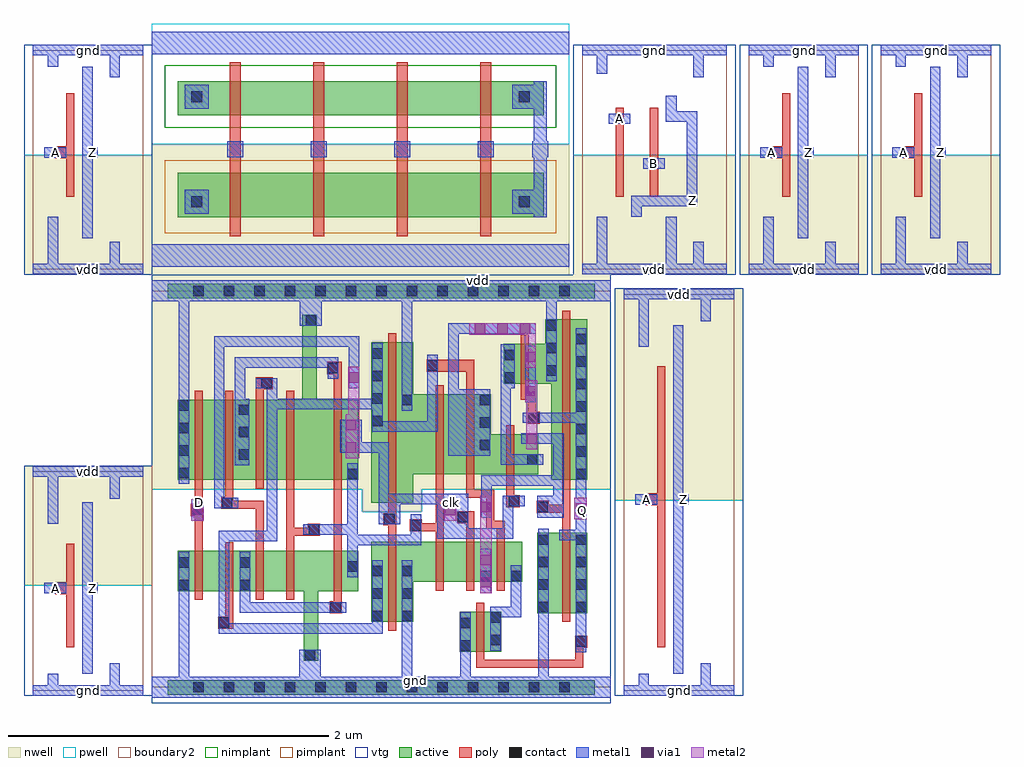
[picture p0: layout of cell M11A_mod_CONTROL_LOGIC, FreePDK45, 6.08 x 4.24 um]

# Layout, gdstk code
import gdstk
lib = gdstk.Library(unit=1e-6, precision=1e-09)
def R(c, l, rs):  # rectangles x0, y0, x1, y1
    for r in rs: c.add(gdstk.rectangle(r[:2], r[2:], *l))
def A(c, l, x, y, w, h, nx, ny, dx, dy):  # array of equal rectangles
    R(c, l, [(x+i*dx, y+j*dy, x+i*dx+w, y+j*dy+h) for i in range(nx) for j in range(ny)])
def P(c, l, *ps):  # polygons
    for p in ps: c.add(gdstk.Polygon(p, *l))
active = (1, 0)
pwell = (2, 0)
nwell = (3, 0)
nimplant = (4, 0)
pimplant = (5, 0)
vtg = (6, 0)
poly = (9, 0)
contact = (10, 0)
metal1 = (11, 0)
via1 = (12, 0)
metal2 = (13, 0)
boundary2 = (239, 0)

m11a_mod_control_logic = lib.new_cell('M11A_mod_CONTROL_LOGIC')
A(m11a_mod_control_logic, active, 1.089, 0.7, 0.05, 0.25, 4, 1, 0.19, 0)
A(m11a_mod_control_logic, active, 1.139, 0.7, 0.14, 0.25, 3, 1, 0.19, 0)
A(m11a_mod_control_logic, active, 2.589, 0.757, 0.05, 0.25, 3, 1, 0.19, 0)
A(m11a_mod_control_logic, active, 1.089, 1.392, 0.05, 0.5, 4, 1, 0.19, 0)
A(m11a_mod_control_logic, active, 1.139, 1.392, 0.14, 0.5, 3, 1, 0.19, 0)
R(m11a_mod_control_logic, active, [(0.922,0.055,3.582,0.145), (2.739,0.322,2.844,0.572), (2.844,0.322,2.894,0.572), (2.894,0.322,2.999,0.572), (2.189,0.507,2.294,1.007), (2.294,0.507,2.344,1.007), (3.224,0.562,3.379,1.062), (3.379,0.562,3.429,1.062), (3.429,0.562,3.534,1.062), (0.984,0.7,1.089,0.95), (1.954,0.7,2.004,0.95), (2.004,0.7,2.109,0.95), (2.639,0.757,2.779,1.007), (2.829,0.757,2.969,1.007), (3.019,0.757,3.129,1.007), (2.189,1.25,2.294,2.25), (2.294,1.25,2.344,2.25), (0.984,1.392,1.089,1.892), (1.954,1.392,2.004,1.892), (2.004,1.392,2.109,1.892), (3.379,1.392,3.429,2.392), (3.429,1.392,3.534,2.392), (2.589,1.427,2.639,1.927), (2.639,1.427,2.779,1.927), (2.779,1.427,2.829,1.927), (3.029,1.427,3.079,1.677), (3.079,1.427,3.229,1.677), (3.014,1.992,3.119,2.242), (3.119,1.992,3.169,2.242), (0.922,2.525,3.582,2.615), (0.982,3.03,3.262,3.305), (0.982,3.665,3.262,3.875)])
P(m11a_mod_control_logic, active, [(1.709,1.392),(1.709,1.892),(1.759,1.892),(1.759,2.422),(1.849,2.422),(1.849,1.892),(1.954,1.892),(1.954,1.392)],
  [(2.344,1.25),(2.344,2.25),(2.449,2.25),(2.449,1.927),(2.589,1.927),(2.589,1.427),(2.449,1.427),(2.449,1.25)],
  [(2.829,1.427),(2.829,1.927),(2.934,1.927),(2.934,1.677),(3.029,1.677),(3.029,1.427)],
  [(3.309,1.392),(3.309,1.992),(3.169,1.992),(3.169,2.242),(3.274,2.242),(3.274,2.392),(3.379,2.392),(3.379,1.392)],
  [(1.769,0.265),(1.769,0.7),(1.709,0.7),(1.709,0.95),(1.954,0.95),(1.954,0.7),(1.859,0.7),(1.859,0.265)],
  [(2.344,0.507),(2.344,1.007),(2.589,1.007),(2.589,0.757),(2.449,0.757),(2.449,0.507)])
R(m11a_mod_control_logic, pwell, [(0.025,0.047,0.823,0.735), (3.707,0.047,4.505,1.265), (0.025,3.415,0.823,4.103), (3.448,3.415,4.46,4.103), (4.485,3.415,5.283,4.103), (5.308,3.415,6.106,4.103), (0.822,3.485,3.422,4.235)])
P(m11a_mod_control_logic, pwell, [(0.822,0),(0.822,1.335),(2.134,1.335),(2.134,1.195),(2.504,1.195),(2.504,1.335),(3.682,1.335),(3.682,0)])
R(m11a_mod_control_logic, nwell, [(0.025,0.735,0.823,1.48), (3.707,1.265,4.505,2.585), (0.025,2.67,0.823,3.415), (0.822,2.67,3.422,3.485), (3.448,2.67,4.46,3.415), (4.485,2.67,5.283,3.415), (5.308,2.67,6.106,3.415)])
P(m11a_mod_control_logic, nwell, [(2.134,1.195),(2.134,1.335),(0.822,1.335),(0.822,2.67),(3.682,2.67),(3.682,1.335),(2.504,1.335),(2.504,1.195)])
A(m11a_mod_control_logic, nimplant, 1.089, 0.7, 0.05, 0.25, 4, 1, 0.19, 0)
A(m11a_mod_control_logic, nimplant, 1.139, 0.7, 0.14, 0.25, 3, 1, 0.19, 0)
A(m11a_mod_control_logic, nimplant, 2.589, 0.757, 0.05, 0.25, 3, 1, 0.19, 0)
R(m11a_mod_control_logic, nimplant, [(2.739,0.322,2.844,0.572), (2.844,0.322,2.894,0.572), (2.894,0.322,2.999,0.572), (2.189,0.507,2.294,1.007), (2.294,0.507,2.344,1.007), (3.224,0.562,3.379,1.062), (3.379,0.562,3.429,1.062), (3.429,0.562,3.534,1.062), (0.984,0.7,1.089,0.95), (1.954,0.7,2.004,0.95), (2.004,0.7,2.109,0.95), (2.639,0.757,2.779,1.007), (2.829,0.757,2.969,1.007), (3.019,0.757,3.129,1.007), (0.922,2.525,3.582,2.615), (0.902,3.585,3.342,3.975)])
P(m11a_mod_control_logic, nimplant, [(1.769,0.265),(1.769,0.7),(1.709,0.7),(1.709,0.95),(1.954,0.95),(1.954,0.7),(1.859,0.7),(1.859,0.265)],
  [(2.344,0.507),(2.344,1.007),(2.589,1.007),(2.589,0.757),(2.449,0.757),(2.449,0.507)])
A(m11a_mod_control_logic, pimplant, 1.089, 1.392, 0.05, 0.5, 4, 1, 0.19, 0)
A(m11a_mod_control_logic, pimplant, 1.139, 1.392, 0.14, 0.5, 3, 1, 0.19, 0)
R(m11a_mod_control_logic, pimplant, [(0.922,0.055,3.582,0.145), (2.189,1.25,2.294,2.25), (2.294,1.25,2.344,2.25), (0.984,1.392,1.089,1.892), (1.954,1.392,2.004,1.892), (2.004,1.392,2.109,1.892), (3.379,1.392,3.429,2.392), (3.429,1.392,3.534,2.392), (2.589,1.427,2.639,1.927), (2.639,1.427,2.779,1.927), (2.779,1.427,2.829,1.927), (3.029,1.427,3.079,1.677), (3.079,1.427,3.229,1.677), (3.014,1.992,3.119,2.242), (3.119,1.992,3.169,2.242), (0.902,2.93,3.342,3.385)])
P(m11a_mod_control_logic, pimplant, [(1.709,1.392),(1.709,1.892),(1.759,1.892),(1.759,2.422),(1.849,2.422),(1.849,1.892),(1.954,1.892),(1.954,1.392)],
  [(2.344,1.25),(2.344,2.25),(2.449,2.25),(2.449,1.927),(2.589,1.927),(2.589,1.427),(2.449,1.427),(2.449,1.25)],
  [(2.829,1.427),(2.829,1.927),(2.934,1.927),(2.934,1.677),(3.029,1.677),(3.029,1.427)],
  [(3.309,1.392),(3.309,1.992),(3.169,1.992),(3.169,2.242),(3.274,2.242),(3.274,2.392),(3.379,2.392),(3.379,1.392)])
R(m11a_mod_control_logic, vtg, [(0.822,0,3.682,2.67), (0.025,0.047,0.823,0.735), (3.707,0.047,4.505,1.265), (0.025,0.735,0.823,1.48), (3.707,1.265,4.505,2.585), (0.025,2.67,0.823,3.415), (3.448,2.67,4.46,3.415), (4.485,2.67,5.283,3.415), (5.308,2.67,6.106,3.415), (0.025,3.415,0.823,4.103), (3.448,3.415,4.46,4.103), (4.485,3.415,5.283,4.103), (5.308,3.415,6.106,4.103)])
A(m11a_mod_control_logic, poly, 1.089, 0.7, 0.05, 0.25, 4, 1, 0.19, 0)
A(m11a_mod_control_logic, poly, 2.589, 0.702, 0.05, 0.055, 3, 1, 0.19, 0)
A(m11a_mod_control_logic, poly, 2.589, 0.757, 0.05, 0.25, 3, 1, 0.19, 0)
A(m11a_mod_control_logic, poly, 1.089, 1.392, 0.05, 0.5, 4, 1, 0.19, 0)
A(m11a_mod_control_logic, poly, 1.307, 2.91, 0.07, 1.085, 4, 1, 0.52, 0)
R(m11a_mod_control_logic, poly, [(2.844,0.322,2.894,0.572), (0.288,0.35,0.338,0.995), (3.97,0.35,4.02,2.1), (2.294,0.452,2.344,0.507), (2.294,0.507,2.344,1.007), (3.379,0.507,3.429,0.562), (3.379,0.562,3.429,1.062), (2.844,0.572,2.894,0.627), (1.089,0.645,1.139,0.7), (1.469,0.645,1.519,0.7), (1.659,0.645,1.709,0.7), (0.22,0.68,0.288,0.755), (1.954,0.7,2.004,0.95), (1.279,0.95,1.329,1.005), (1.954,0.95,2.004,1.392), (3.902,1.233,3.97,1.308), (2.294,1.25,2.344,2.25), (1.469,1.337,1.519,1.392), (1.954,1.392,2.004,1.892), (3.379,1.392,3.429,2.392), (2.589,1.427,2.639,1.927), (2.779,1.427,2.829,1.927), (3.029,1.427,3.079,1.677), (3.029,1.677,3.079,1.732), (1.089,1.892,1.139,1.947), (1.279,1.892,1.329,1.947), (1.659,1.892,1.709,1.947), (2.589,1.927,2.639,1.982), (3.119,1.992,3.169,2.242), (3.119,2.242,3.169,2.297), (2.294,2.25,2.344,2.305), (3.379,2.392,3.429,2.447), (0.288,3.155,0.338,3.8), (3.711,3.155,3.761,3.71), (3.925,3.155,3.976,3.71), (4.748,3.155,4.798,3.8), (5.571,3.155,5.621,3.8), (3.925,3.325,3.95,3.4), (0.22,3.395,0.288,3.47), (4.68,3.395,4.748,3.47), (5.503,3.395,5.571,3.47), (3.711,3.605,3.735,3.68)])
P(m11a_mod_control_logic, poly, [(1.089,0.95),(1.089,1.167),(1.064,1.167),(1.064,1.242),(1.089,1.242),(1.089,1.392),(1.139,1.392),(1.139,0.95)],
  [(1.234,0.465),(1.234,0.54),(1.279,0.54),(1.279,0.7),(1.329,0.7),(1.329,0.465)],
  [(1.469,1.892),(1.469,2.032),(1.574,2.032),(1.574,1.957),(1.519,1.957),(1.519,1.892)],
  [(1.469,0.95),(1.469,1.212),(1.254,1.212),(1.254,1.287),(1.279,1.287),(1.279,1.392),(1.329,1.392),(1.329,1.262),(1.519,1.262),(1.519,0.95)],
  [(1.659,0.95),(1.659,1.392),(1.709,1.392),(1.709,1.095),(1.794,1.095),(1.794,1.12),(1.869,1.12),(1.869,1.045),(1.709,1.045),(1.709,0.95)],
  [(1.954,1.892),(1.954,2.052),(1.914,2.052),(1.914,2.127),(2.004,2.127),(2.004,1.892)],
  [(1.929,0.56),(1.929,0.635),(1.954,0.635),(1.954,0.7),(2.004,0.7),(2.004,0.56)],
  [(2.294,1.007),(2.294,1.11),(2.264,1.11),(2.264,1.185),(2.294,1.185),(2.294,1.25),(2.344,1.25),(2.344,1.007)],
  [(2.589,1.007),(2.589,1.072),(2.429,1.072),(2.429,1.147),(2.504,1.147),(2.504,1.122),(2.589,1.122),(2.589,1.427),(2.639,1.427),(2.639,1.007)],
  [(2.779,1.927),(2.779,2.067),(2.534,2.067),(2.534,2.142),(2.829,2.142),(2.829,1.927)],
  [(2.779,1.007),(2.779,1.122),(2.724,1.122),(2.724,1.197),(2.829,1.197),(2.829,1.007)],
  [(3.164,1.742),(3.164,1.892),(3.119,1.892),(3.119,1.992),(3.169,1.992),(3.169,1.942),(3.214,1.942),(3.214,1.817),(3.239,1.817),(3.239,1.742)],
  [(3.029,1.222),(3.029,1.427),(3.079,1.427),(3.079,1.297),(3.114,1.297),(3.114,1.222)],
  [(2.844,0.222),(2.844,0.322),(2.894,0.322),(2.894,0.272),(3.459,0.272),(3.459,0.422),(3.534,0.422),(3.534,0.347),(3.509,0.347),(3.509,0.222)],
  [(2.969,1.007),(2.969,1.087),(2.904,1.087),(2.904,1.282),(2.779,1.282),(2.779,1.427),(2.829,1.427),(2.829,1.332),(2.954,1.332),(2.954,1.137),(3.019,1.137),(3.019,1.007)],
  [(3.379,1.062),(3.379,1.187),(3.219,1.187),(3.219,1.262),(3.294,1.262),(3.294,1.237),(3.379,1.237),(3.379,1.392),(3.429,1.392),(3.429,1.062)])
A(m11a_mod_control_logic, contact, 1.079, 0.068, 0.065, 0.064, 13, 1, 0.19, 0)
A(m11a_mod_control_logic, contact, 2.194, 0.512, 0.065, 0.065, 1, 3, 0, 0.14)
A(m11a_mod_control_logic, contact, 2.379, 0.512, 0.065, 0.065, 1, 3, 0, 0.14)
A(m11a_mod_control_logic, contact, 3.229, 0.567, 0.065, 0.065, 1, 4, 0, 0.14)
A(m11a_mod_control_logic, contact, 3.464, 0.567, 0.065, 0.065, 1, 4, 0, 0.14)
A(m11a_mod_control_logic, contact, 3.464, 1.397, 0.065, 0.065, 1, 7, 0, 0.14)
A(m11a_mod_control_logic, contact, 0.989, 1.402, 0.065, 0.065, 1, 4, 0, 0.14)
A(m11a_mod_control_logic, contact, 1.364, 1.517, 0.065, 0.065, 1, 3, 0, 0.14)
A(m11a_mod_control_logic, contact, 2.864, 1.577, 0.065, 0.065, 1, 3, 0, 0.14)
A(m11a_mod_control_logic, contact, 2.194, 1.727, 0.065, 0.065, 1, 4, 0, 0.14)
A(m11a_mod_control_logic, contact, 3.279, 2.042, 0.065, 0.065, 1, 3, 0, 0.14)
A(m11a_mod_control_logic, contact, 1.079, 2.537, 0.065, 0.065, 13, 1, 0.19, 0)
R(m11a_mod_control_logic, contact, [(1.774,0.27,1.839,0.335), (2.744,0.327,2.809,0.392), (3.464,0.352,3.529,0.417), (2.929,0.362,2.994,0.427), (2.744,0.467,2.809,0.532), (1.239,0.47,1.304,0.535), (2.929,0.502,2.994,0.567), (1.934,0.565,1.999,0.63), (0.989,0.705,1.054,0.77), (1.369,0.705,1.434,0.77), (2.869,0.762,2.934,0.827), (3.059,0.762,3.124,0.827), (2.039,0.82,2.104,0.885), (0.989,0.845,1.054,0.91), (1.369,0.845,1.434,0.91), (1.799,1.05,1.864,1.115), (2.434,1.077,2.499,1.142), (2.269,1.115,2.334,1.18), (2.729,1.127,2.794,1.192), (1.069,1.172,1.134,1.237), (3.224,1.192,3.289,1.257), (1.259,1.217,1.324,1.282), (3.044,1.227,3.109,1.292), (2.039,1.397,2.104,1.462), (3.159,1.487,3.224,1.552), (3.169,1.747,3.234,1.812), (2.379,1.857,2.444,1.922), (1.504,1.962,1.569,2.027), (3.019,1.997,3.084,2.062), (1.919,2.057,1.984,2.122), (2.539,2.072,2.604,2.137), (3.019,2.137,3.084,2.202), (1.779,2.352,1.844,2.417), (1.067,3.09,1.137,3.16), (3.107,3.09,3.177,3.16), (1.067,3.745,1.137,3.815), (3.107,3.745,3.177,3.815)])
A(m11a_mod_control_logic, metal1, 1.292, 3.403, 0.1, 0.099, 4, 1, 0.52, 0)
R(m11a_mod_control_logic, metal1, [(0.822,0.035,3.682,0.165), (0.08,0.047,0.767,0.113), (0.172,0.047,0.237,0.183), (3.762,0.047,4.449,0.113), (3.854,0.047,3.919,0.183), (0.558,0.08,0.622,0.25), (4.24,0.08,4.304,0.25), (0.387,0.183,0.452,1.253), (4.069,0.183,4.134,2.357), (0.152,0.685,0.288,0.75), (0.42,0.685,0.485,0.75), (2.869,0.687,2.934,0.962), (3.464,1.015,3.529,1.227), (2.599,1.027,2.794,1.307), (0.172,1.118,0.237,1.477), (1.067,1.137,1.144,1.272), (3.454,1.147,3.532,1.282), (3.834,1.237,3.97,1.302), (4.102,1.237,4.167,1.302), (0.558,1.275,0.622,1.445), (0.08,1.412,0.767,1.477), (3.149,1.877,3.214,2.227), (3.854,2.223,3.919,2.582), (4.24,2.38,4.304,2.55), (0.822,2.505,3.582,2.635), (3.762,2.517,4.449,2.582), (0.08,2.673,0.767,2.738), (0.172,2.673,0.237,3.032), (3.503,2.673,4.405,2.738), (3.595,2.673,3.66,3.032), (4.025,2.673,4.091,3.032), (4.54,2.673,5.227,2.738), (4.632,2.673,4.697,3.032), (5.363,2.673,6.05,2.738), (5.455,2.673,5.52,3.032), (0.558,2.705,0.622,2.875), (4.195,2.705,4.261,2.875), (5.018,2.705,5.082,2.875), (5.841,2.705,5.905,2.875), (0.822,2.72,3.422,2.86), (2.072,2.74,2.172,2.84), (0.387,2.897,0.452,3.967), (4.847,2.897,4.912,3.967), (5.67,2.897,5.735,3.967), (3.202,3.03,3.282,3.875), (3.81,3.032,3.875,3.13), (1.027,3.05,1.177,3.2), (3.067,3.05,3.217,3.2), (3.81,3.098,3.875,3.163), (3.843,3.098,4.188,3.163), (4.155,3.098,4.221,3.163), (4.155,3.13,4.221,3.657), (3.883,3.33,4.018,3.395), (0.152,3.4,0.288,3.465), (0.42,3.4,0.485,3.465), (4.612,3.4,4.748,3.465), (4.88,3.4,4.945,3.465), (5.435,3.4,5.571,3.465), (5.703,3.4,5.768,3.465), (3.192,3.403,3.292,3.502), (3.668,3.61,3.803,3.675), (4.025,3.625,4.091,3.69), (4.058,3.625,4.188,3.69), (4.155,3.625,4.221,3.69), (4.025,3.657,4.091,3.787), (1.027,3.705,1.177,3.855), (3.067,3.705,3.217,3.855), (0.558,3.9,0.622,4.07), (4.195,3.9,4.261,4.07), (5.018,3.9,5.082,4.07), (5.841,3.9,5.905,4.07), (3.595,3.923,3.66,4.103), (0.172,3.967,0.237,4.103), (4.632,3.967,4.697,4.103), (5.455,3.967,5.52,4.103), (0.08,4.037,0.767,4.103), (3.503,4.037,4.405,4.103), (4.54,4.037,5.227,4.103), (5.363,4.037,6.05,4.103), (0.822,4.045,3.422,4.185), (2.072,4.065,2.172,4.165)])
P(m11a_mod_control_logic, metal1, [(0.989,1.367),(0.989,2.505),(0.922,2.505),(0.922,2.635),(3.682,2.635),(3.682,2.505),(3.344,2.505),(3.344,2.007),(3.279,2.007),(3.279,2.505),(2.444,2.505),(2.444,1.822),(2.379,1.822),(2.379,2.505),(1.879,2.505),(1.879,2.352),(1.744,2.352),(1.744,2.505),(1.054,2.505),(1.054,1.367)],
  [(0.922,0.035),(0.922,0.165),(0.989,0.165),(0.989,0.945),(1.054,0.945),(1.054,0.165),(1.739,0.165),(1.739,0.335),(1.874,0.335),(1.874,0.165),(2.379,0.165),(2.379,0.892),(2.444,0.892),(2.444,0.165),(2.744,0.165),(2.744,0.567),(2.809,0.567),(2.809,0.165),(3.229,0.165),(3.229,1.087),(3.294,1.087),(3.294,0.165),(3.582,0.165),(3.582,0.035)],
  [(1.239,0.435),(1.239,1.075),(1.539,1.075),(1.539,1.962),(1.469,1.962),(1.469,2.027),(1.604,2.027),(1.604,1.897),(2.194,1.897),(2.194,2.247),(2.259,2.247),(2.259,1.757),(2.539,1.757),(2.539,2.172),(2.604,2.172),(2.604,1.692),(2.194,1.692),(2.194,1.832),(1.604,1.832),(1.604,1.01),(1.304,1.01),(1.304,0.5),(2.194,0.5),(2.194,0.892),(2.259,0.892),(2.259,0.435)],
  [(2.599,1.027),(2.599,1.242),(2.369,1.242),(2.369,1.115),(2.234,1.115),(2.234,1.562),(1.994,1.562),(1.994,1.767),(2.129,1.767),(2.129,1.627),(2.299,1.627),(2.299,1.307),(2.794,1.307),(2.794,1.092),(3.009,1.092),(3.009,1.292),(3.144,1.292),(3.144,1.227),(3.074,1.227),(3.074,1.027)],
  [(1.209,1.217),(1.209,2.287),(2.114,2.287),(2.114,1.962),(2.049,1.962),(2.049,2.222),(1.274,2.222),(1.274,1.282),(1.359,1.282),(1.359,1.217)],
  [(1.339,1.482),(1.339,2.157),(1.984,2.157),(1.984,2.022),(1.919,2.022),(1.919,2.092),(1.404,2.092),(1.404,1.897),(1.429,1.897),(1.429,1.482)],
  [(1.369,0.565),(1.369,0.945),(1.434,0.945),(1.434,0.63),(2.034,0.63),(2.034,0.565)],
  [(2.039,0.785),(2.039,1.05),(1.764,1.05),(1.764,1.115),(2.039,1.115),(2.039,1.497),(2.104,1.497),(2.104,1.05),(2.434,1.05),(2.434,1.177),(2.499,1.177),(2.499,0.985),(2.104,0.985),(2.104,0.785)],
  [(2.669,1.542),(2.669,2.367),(3.214,2.367),(3.214,2.302),(2.734,2.302),(2.734,1.957),(2.929,1.957),(2.929,1.542)],
  [(2.874,1.157),(2.874,1.422),(3.324,1.422),(3.324,1.617),(3.124,1.617),(3.124,1.682),(3.389,1.682),(3.389,1.157),(3.224,1.157),(3.224,1.292),(3.324,1.292),(3.324,1.357),(2.939,1.357),(2.939,1.157)],
  [(2.994,1.487),(2.994,2.237),(3.084,2.237),(3.084,1.962),(3.059,1.962),(3.059,1.552),(3.259,1.552),(3.259,1.487)],
  [(3.464,0.317),(3.464,1.017),(3.359,1.017),(3.359,1.082),(3.464,1.082),(3.464,1.747),(3.134,1.747),(3.134,1.812),(3.464,1.812),(3.464,2.337),(3.529,2.337),(3.529,0.317)],
  [(2.929,0.327),(2.929,0.602),(3.059,0.602),(3.059,0.862),(3.124,0.862),(3.124,0.537),(2.994,0.537),(2.994,0.327)])
A(m11a_mod_control_logic, via1, 2.834, 2.302, 0.065, 0.065, 3, 1, 0.14, 0)
R(m11a_mod_control_logic, via1, [(2.869,0.722,2.934,0.787), (2.869,0.862,2.934,0.927), (1.069,1.172,1.134,1.237), (2.647,1.172,2.712,1.237), (3.462,1.182,3.527,1.247), (2.874,1.192,2.939,1.257), (2.029,1.562,2.094,1.627), (3.159,1.617,3.224,1.682), (2.029,1.702,2.094,1.767), (3.149,1.912,3.214,1.977), (2.049,1.997,2.114,2.062), (3.149,2.127,3.214,2.192)])
R(m11a_mod_control_logic, metal2, [(2.869,0.687,2.939,1.292), (1.067,1.137,1.144,1.272), (2.642,1.137,2.719,1.272), (3.454,1.147,3.532,1.282)])
P(m11a_mod_control_logic, metal2, [(2.029,1.527),(2.029,1.802),(2.044,1.802),(2.044,2.097),(2.114,2.097),(2.114,1.527)],
  [(3.144,2.092),(3.144,2.297),(2.799,2.297),(2.799,2.367),(3.214,2.367),(3.214,2.092)],
  [(3.154,1.582),(3.154,1.877),(3.149,1.877),(3.149,2.012),(3.224,2.012),(3.224,1.582)])
R(m11a_mod_control_logic, boundary2, [(0.08,0.08,0.767,1.445), (0.08,0.08,0.767,1.445), (3.762,0.08,4.449,2.55), (3.762,0.08,4.449,2.55), (0.822,0.1,3.682,2.57), (0.08,2.705,0.767,4.07), (0.08,2.705,0.767,4.07), (3.503,2.705,4.405,4.07), (3.503,2.705,4.405,4.07), (4.54,2.705,5.227,4.07), (4.54,2.705,5.227,4.07), (5.363,2.705,6.05,4.07), (5.363,2.705,6.05,4.07)])
m11a_mod_control_logic.add(gdstk.Label('A', (0.22,0.718), layer=11, texttype=0))
m11a_mod_control_logic.add(gdstk.Label('Z', (0.452,0.718), layer=11, texttype=0))
m11a_mod_control_logic.add(gdstk.Label('gnd', (0.425,0.08), layer=11, texttype=0))
m11a_mod_control_logic.add(gdstk.Label('vdd', (0.425,1.445), layer=11, texttype=0))
m11a_mod_control_logic.add(gdstk.Label('A', (5.503,3.432), layer=11, texttype=0))
m11a_mod_control_logic.add(gdstk.Label('Z', (5.735,3.432), layer=11, texttype=0))
m11a_mod_control_logic.add(gdstk.Label('gnd', (5.708,4.07), layer=11, texttype=0))
m11a_mod_control_logic.add(gdstk.Label('vdd', (5.708,2.705), layer=11, texttype=0))
m11a_mod_control_logic.add(gdstk.Label('A', (4.68,3.432), layer=11, texttype=0))
m11a_mod_control_logic.add(gdstk.Label('Z', (4.912,3.432), layer=11, texttype=0))
m11a_mod_control_logic.add(gdstk.Label('gnd', (4.885,4.07), layer=11, texttype=0))
m11a_mod_control_logic.add(gdstk.Label('vdd', (4.885,2.705), layer=11, texttype=0))
m11a_mod_control_logic.add(gdstk.Label('Z', (4.188,3.13), layer=11, texttype=0))
m11a_mod_control_logic.add(gdstk.Label('gnd', (3.953,4.07), layer=11, texttype=0))
m11a_mod_control_logic.add(gdstk.Label('vdd', (3.953,2.705), layer=11, texttype=0))
m11a_mod_control_logic.add(gdstk.Label('A', (3.735,3.643), layer=11, texttype=0))
m11a_mod_control_logic.add(gdstk.Label('B', (3.95,3.363), layer=11, texttype=0))
m11a_mod_control_logic.add(gdstk.Label('A', (0.22,3.432), layer=11, texttype=0))
m11a_mod_control_logic.add(gdstk.Label('Z', (0.452,3.432), layer=11, texttype=0))
m11a_mod_control_logic.add(gdstk.Label('gnd', (0.425,4.07), layer=11, texttype=0))
m11a_mod_control_logic.add(gdstk.Label('vdd', (0.425,2.705), layer=11, texttype=0))
m11a_mod_control_logic.add(gdstk.Label('A', (3.902,1.27), layer=11, texttype=0))
m11a_mod_control_logic.add(gdstk.Label('Z', (4.134,1.27), layer=11, texttype=0))
m11a_mod_control_logic.add(gdstk.Label('gnd', (4.107,0.08), layer=11, texttype=0))
m11a_mod_control_logic.add(gdstk.Label('vdd', (4.107,2.55), layer=11, texttype=0))
m11a_mod_control_logic.add(gdstk.Label('clk', (2.687,1.25), layer=13, texttype=0))
m11a_mod_control_logic.add(gdstk.Label('D', (1.117,1.25), layer=13, texttype=0))
m11a_mod_control_logic.add(gdstk.Label('Q', (3.507,1.2), layer=13, texttype=0))
m11a_mod_control_logic.add(gdstk.Label('gnd', (2.467,0.142), layer=11, texttype=0))
m11a_mod_control_logic.add(gdstk.Label('vdd', (2.857,2.632), layer=11, texttype=0))

lib.write_gds('M11A_mod_CONTROL_LOGIC.gds')
